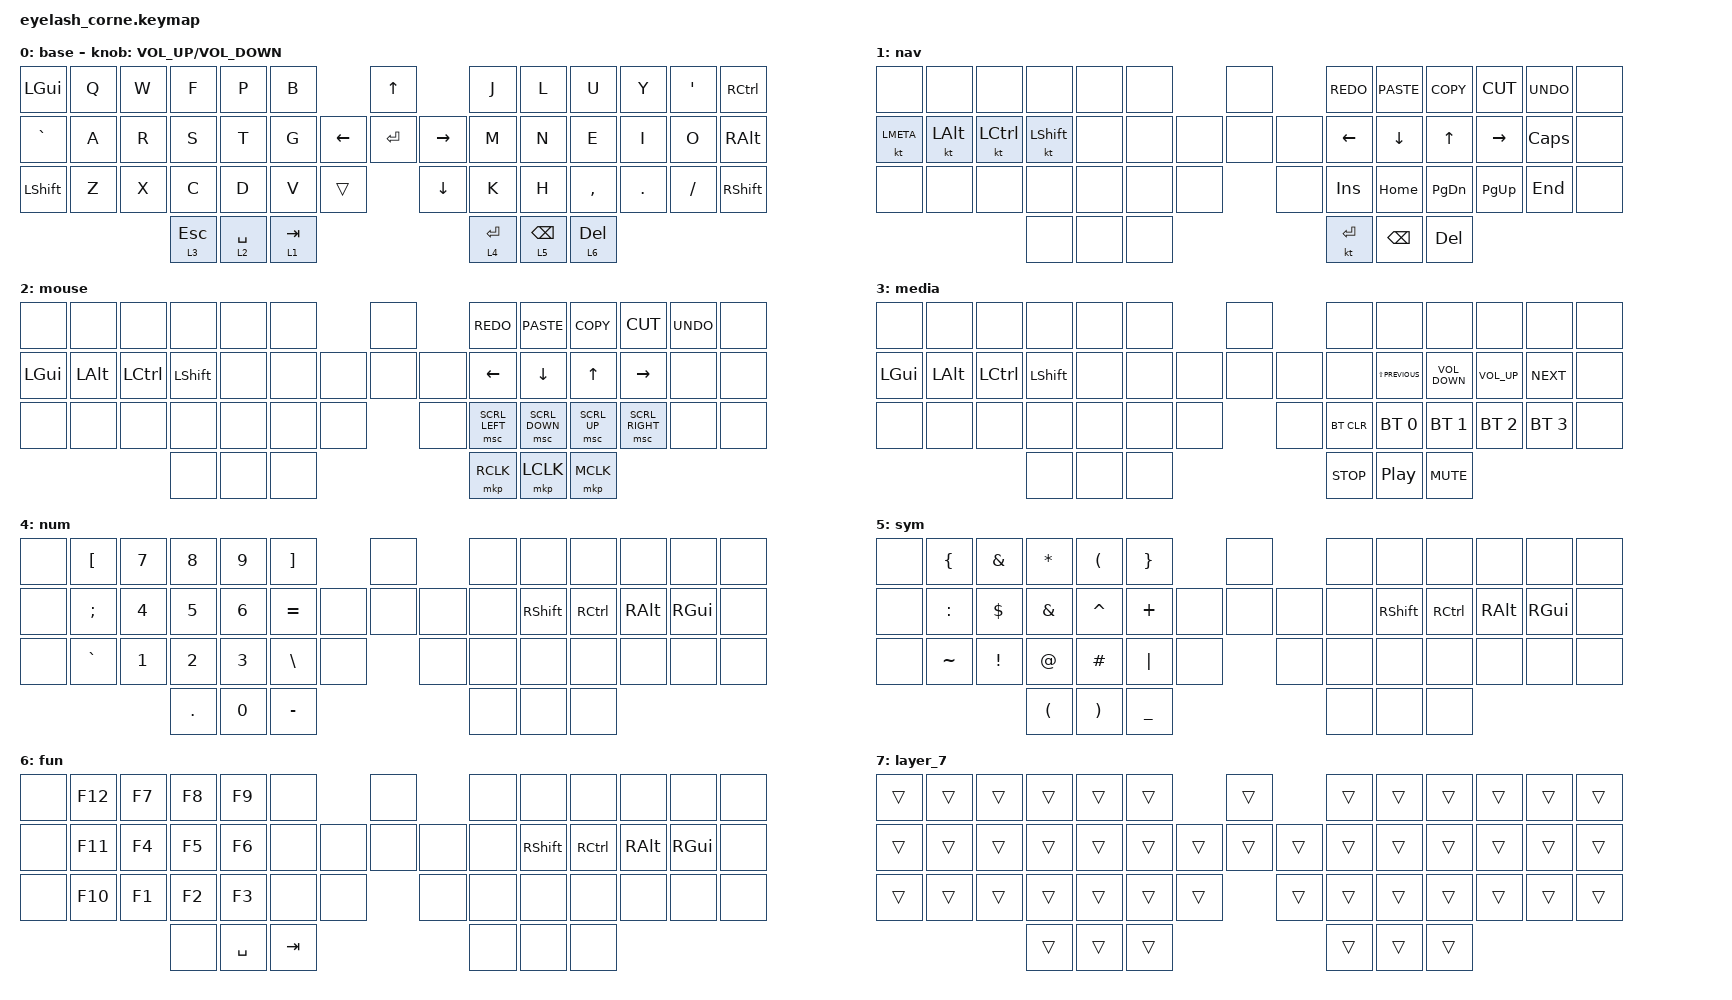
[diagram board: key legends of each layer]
#define ZMK_POINTING_DEFAULT_MOVE_VAL 1200  // 600
#define ZMK_POINTING_DEFAULT_SCRL_VAL 25   // 10

#include <input/processors.dtsi>
#include <zephyr/dt-bindings/input/input-event-codes.h>
#include <behaviors.dtsi>
#include <dt-bindings/zmk/bt.h>
#include <dt-bindings/zmk/keys.h>
#include <dt-bindings/zmk/pointing.h>
#include <dt-bindings/zmk/rgb.h>

&mmv_input_listener { input-processors = <&zip_xy_scaler 2 1>; };

&msc_input_listener { input-processors = <&zip_scroll_scaler 2 1>; };

&msc {
    acceleration-exponent = <1>;      // 0
    time-to-max-speed-ms = <100>;       // 300
    delay-ms = <0>;                   // 0
};

&mmv {
    time-to-max-speed-ms = <500>;
    acceleration-exponent = <1>;
    trigger-period-ms = <16>;
};

/ {
    behaviors {
        td0: td0 {
            compatible = "zmk,behavior-tap-dance";
            display-name = "Shift/Caps Lock Tap Dance";
            #binding-cells = <0>;
            bindings = <&kp LEFT_SHIFT>, <&kp CAPS>;
        };
    };

    rgb_encoder: rgb_encoder {
        compatible = "zmk,behavior-sensor-rotate";
        #sensor-binding-cells = <0>;
        bindings = <&rgb_ug RGB_BRI>, <&rgb_ug RGB_BRD>;
    };

    scroll_encoder: scroll_encoder {
        compatible = "zmk,behavior-sensor-rotate";
        #sensor-binding-cells = <0>;
        bindings = <&msc SCRL_DOWN>, <&msc SCRL_UP>;

        tap-ms = <100>;
    };

    keymap {
        compatible = "zmk,keymap";

        base {
            bindings = <
&kp LEFT_GUI  &kp Q  &kp W  &kp F         &kp P        &kp B                          &kp UP                &kp J        &kp L            &kp U         &kp Y    &kp SQT   &kp RIGHT_CONTROL
&kp GRAVE     &kp A  &kp R  &kp S         &kp T        &kp G                &kp LEFT  &kp ENTER  &kp RIGHT  &kp M        &kp N            &kp E         &kp I    &kp O     &kp RIGHT_ALT
&kp LSHIFT    &kp Z  &kp X  &kp C         &kp D        &kp V      &trans              &kp DOWN              &kp K        &kp H            &kp COMMA     &kp DOT  &kp FSLH  &kp RIGHT_SHIFT
                            &lt 3 ESCAPE  &lt 2 SPACE  &lt 1 TAB                                            &lt 4 ENTER  &lt 5 BACKSPACE  &lt 6 DELETE
            >;

            sensor-bindings = <&inc_dec_kp C_VOLUME_UP C_VOLUME_DOWN>;
        };

        nav {
            bindings = <
&none      &none         &none             &none           &none  &none                  &none         &kp K_REDO  &kp K_PASTE    &kp K_COPY     &kp K_CUT    &kp K_UNDO  &none
&kt LMETA  &kt LEFT_ALT  &kt LEFT_CONTROL  &kt LEFT_SHIFT  &none  &none           &none  &none  &none  &kp LEFT    &kp DOWN       &kp UP_ARROW   &kp RIGHT    &kp CLCK    &none
&none      &none         &none             &none           &none  &none  &none           &none         &kp INSERT  &kp HOME       &kp PAGE_DOWN  &kp PAGE_UP  &kp END     &none
                                           &none           &none  &none                                &kt ENTER   &kp BACKSPACE  &kp DELETE
            >;
        };

        mouse {
            bindings = <
&none     &none     &none      &none      &none  &none                  &none         &kp K_REDO      &kp K_PASTE     &kp K_COPY    &kp K_CUT        &kp K_UNDO  &none
&kp LGUI  &kp LALT  &kp LCTRL  &kp LSHFT  &none  &none           &none  &none  &none  &kp LEFT        &kp DOWN        &kp UP        &kp RIGHT        &none       &none
&none     &none     &none      &none      &none  &none  &none           &none         &msc SCRL_LEFT  &msc SCRL_DOWN  &msc SCRL_UP  &msc SCRL_RIGHT  &none       &none
                               &none      &none  &none                                &mkp RCLK       &mkp LCLK       &mkp MCLK
            >;
        };

        media {
            bindings = <
&none     &none     &none      &none      &none  &none                  &none         &none       &none               &none              &none            &none         &none
&kp LGUI  &kp LALT  &kp LCTRL  &kp LSHFT  &none  &none           &none  &none  &none  &none       &kp LS(C_PREVIOUS)  &kp C_VOLUME_DOWN  &kp C_VOLUME_UP  &kp C_NEXT    &none
&none     &none     &none      &none      &none  &none  &none           &none         &bt BT_CLR  &bt BT_SEL 0        &bt BT_SEL 1       &bt BT_SEL 2     &bt BT_SEL 3  &none
                               &none      &none  &none                                &kp C_STOP  &kp C_PLAY_PAUSE    &kp C_MUTE
            >;
        };

        num {
            bindings = <
&none  &kp LBKT   &kp N7  &kp N8   &kp N9  &kp RBKT                   &none         &none  &none      &none      &none     &none     &none
&none  &kp SEMI   &kp N4  &kp N5   &kp N6  &kp EQUAL           &none  &none  &none  &none  &kp RSHFT  &kp RCTRL  &kp RALT  &kp RGUI  &none
&none  &kp GRAVE  &kp N1  &kp N2   &kp N3  &kp BSLH   &none           &none         &none  &none      &none      &none     &none     &none
                          &kp DOT  &kp N0  &kp MINUS                                &none  &none      &none
            >;
        };

        sym {
            bindings = <
&none  &kp LEFT_BRACE  &kp AMPERSAND    &kp ASTERISK          &kp LEFT_PARENTHESIS   &kp RIGHT_BRACE                  &none         &none  &none      &none      &none     &none     &none
&none  &kp COLON       &kp DOLLAR       &kp AMPERSAND         &kp CARET              &kp PLUS                  &none  &none  &none  &none  &kp RSHFT  &kp RCTRL  &kp RALT  &kp RGUI  &none
&none  &kp TILDE       &kp EXCLAMATION  &kp AT_SIGN           &kp HASH               &kp PIPE         &none           &none         &none  &none      &none      &none     &none     &none
                                        &kp LEFT_PARENTHESIS  &kp RIGHT_PARENTHESIS  &kp UNDERSCORE                                 &none  &none      &none
            >;
        };

        fun {
            bindings = <
&none  &kp F12  &kp F7  &kp F8  &kp F9     &none                    &none         &none  &none      &none      &none     &none     &none
&none  &kp F11  &kp F4  &kp F5  &kp F6     &none             &none  &none  &none  &none  &kp RSHFT  &kp RCTRL  &kp RALT  &kp RGUI  &none
&none  &kp F10  &kp F1  &kp F2  &kp F3     &none    &none           &none         &none  &none      &none      &none     &none     &none
                        &none   &kp SPACE  &kp TAB                                &none  &none      &none
            >;
        };

        layer_7 {
            bindings = <
&trans  &trans  &trans  &trans  &trans  &trans                    &trans          &trans  &trans  &trans  &trans  &trans  &trans
&trans  &trans  &trans  &trans  &trans  &trans            &trans  &trans  &trans  &trans  &trans  &trans  &trans  &trans  &trans
&trans  &trans  &trans  &trans  &trans  &trans  &trans            &trans          &trans  &trans  &trans  &trans  &trans  &trans
                        &trans  &trans  &trans                                    &trans  &trans  &trans
            >;
        };
    };
};
